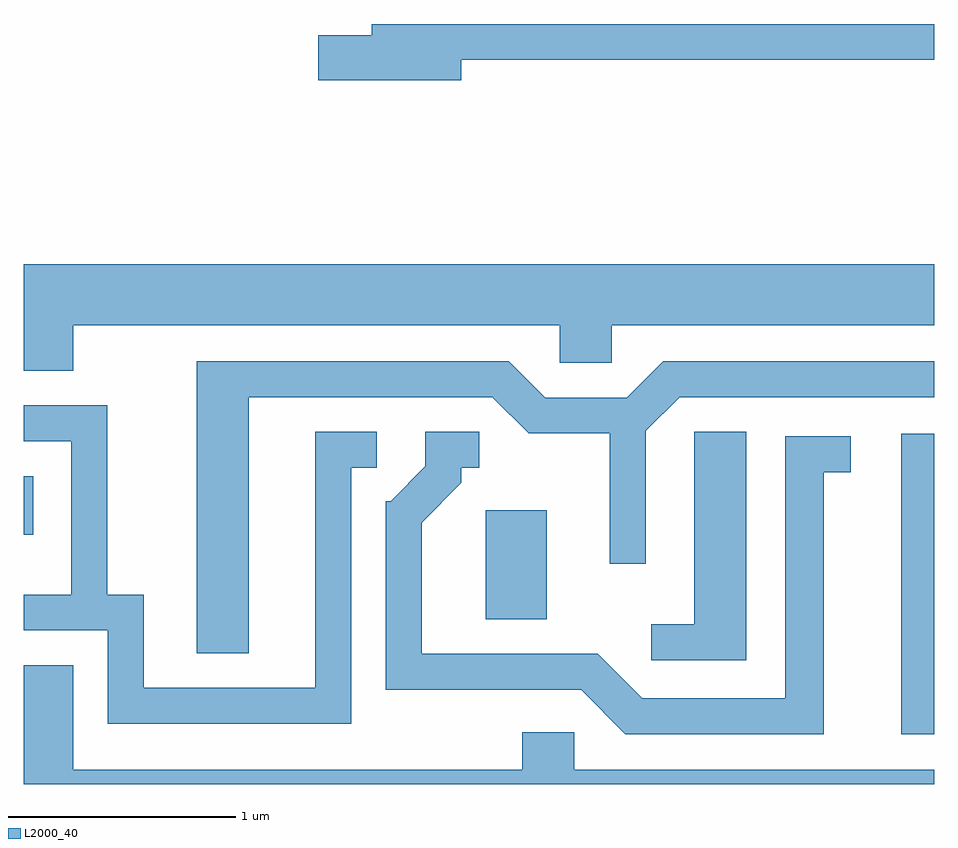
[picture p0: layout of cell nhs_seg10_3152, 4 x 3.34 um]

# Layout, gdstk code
import gdstk
lib = gdstk.Library(unit=1e-6, precision=1e-09)
def R(c, l, rs):  # rectangles x0, y0, x1, y1
    for r in rs: c.add(gdstk.rectangle(r[:2], r[2:], *l))
def P(c, l, *ps):  # polygons
    for p in ps: c.add(gdstk.Polygon(p, *l))
L2000_40 = (2000, 40)

nhs_seg10_3152 = lib.new_cell('nhs_seg10_3152')
R(nhs_seg10_3152, L2000_40, [(281.466,2158.741,281.611,2160.059), (279.641,2159.246,279.909,2159.724), (277.611,2159.616,277.654,2159.874)])
P(nhs_seg10_3152, L2000_40, [(279.534,2161.701),(281.611,2161.701),(281.611,2161.859),(279.141,2161.859),(279.141,2161.809),(278.906,2161.809),(278.906,2161.611),(279.534,2161.611)],
  [(277.829,2160.536),(279.966,2160.536),(279.966,2160.371),(280.194,2160.371),(280.194,2160.536),(281.611,2160.536),(281.611,2160.804),(277.611,2160.804),(277.611,2160.336),(277.829,2160.336)],
  [(278.599,2160.221),(279.669,2160.221),(279.829,2160.061),(280.186,2160.061),(280.186,2159.488),(280.344,2159.488),(280.344,2160.074),(280.492,2160.221),(281.611,2160.221),(281.611,2160.379),(280.419,2160.379),(280.259,2160.219),(279.902,2160.219),(279.742,2160.379),(278.371,2160.379),(278.371,2159.096),(278.599,2159.096)],
  [(279.049,2159.911),(279.163,2159.911),(279.163,2160.069),(278.891,2160.069),(278.891,2158.944),(278.139,2158.944),(278.139,2159.354),(277.979,2159.354),(277.979,2160.184),(277.611,2160.184),(277.611,2160.026),(277.821,2160.026),(277.821,2159.354),(277.611,2159.354),(277.611,2159.196),(277.981,2159.196),(277.981,2158.786),(279.049,2158.786)],
  [(281.124,2159.891),(281.243,2159.891),(281.243,2160.049),(280.956,2160.049),(280.956,2158.899),(280.327,2158.899),(280.132,2159.094),(279.359,2159.094),(279.359,2159.669),(279.534,2159.844),(279.534,2159.911),(279.613,2159.911),(279.613,2160.069),(279.376,2160.069),(279.376,2159.917),(279.224,2159.764),(279.201,2159.764),(279.201,2158.936),(280.059,2158.936),(280.254,2158.741),(281.124,2158.741)],
  [(280.784,2160.069),(280.556,2160.069),(280.556,2159.224),(280.368,2159.224),(280.368,2159.066),(280.784,2159.066)],
  [(281.611,2158.584),(280.029,2158.584),(280.029,2158.749),(279.801,2158.749),(279.801,2158.584),(277.829,2158.584),(277.829,2159.044),(277.611,2159.044),(277.611,2158.522),(281.611,2158.522)])

lib.write_gds('nhs_seg10_3152.gds')
